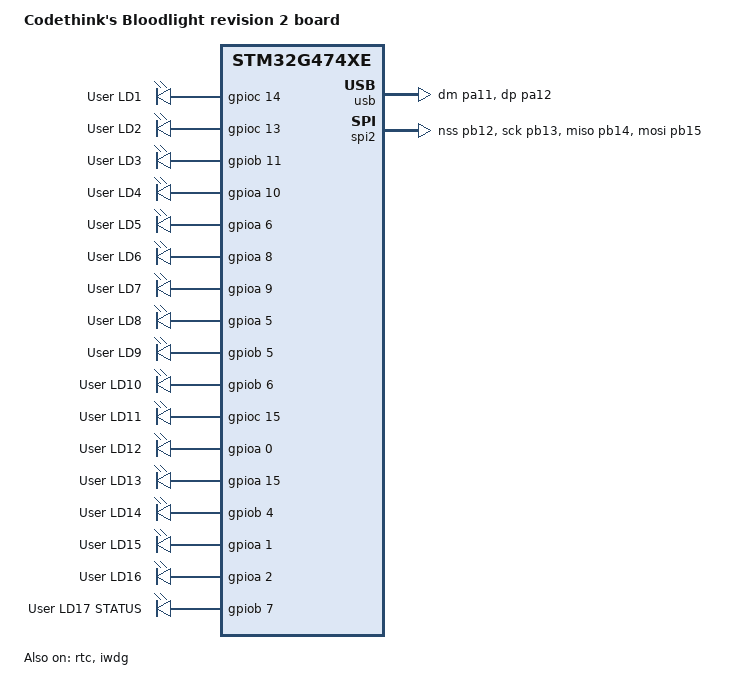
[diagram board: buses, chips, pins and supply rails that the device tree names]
/*
 * Copyright (c) 2019 STMicroelectronics.
 *
 * SPDX-License-Identifier: Apache-2.0
 */

/dts-v1/;
#include <st/g4/stm32g474Xe.dtsi>
#include <st/g4/stm32g474c(b-c-e)tx-pinctrl.dtsi>

/ {
	model = "Codethink's Bloodlight revision 2 board";
	compatible = "st,bloodlight_rev2";

	chosen {
		zephyr,console = &lpuart1;
		zephyr,shell-uart = &lpuart1;
		zephyr,sram = &sram0;
		zephyr,flash = &flash0;
	};

	leds {
		compatible = "gpio-leds";
		infrared_led_1: led_1 {
			gpios = <&gpioc 14 GPIO_ACTIVE_HIGH>;
			label = "User LD1";
		};
		infrared_led_2: led_2 {
			gpios = <&gpioc 13 GPIO_ACTIVE_HIGH>;
			label = "User LD2";
		};
		infrared_led_3: led_3 {
			gpios = <&gpiob 11 GPIO_ACTIVE_HIGH>;
			label = "User LD3";
		};
		infrared_led_4: led_4 {
			gpios = <&gpioa 10 GPIO_ACTIVE_HIGH>;
			label = "User LD4";
		};
		infrared_led_5: led_5 {
			gpios = <&gpioa 6 GPIO_ACTIVE_HIGH>;
			label = "User LD5";
		};
		infrared_led_6: led_6 {
			gpios = <&gpioa 8 GPIO_ACTIVE_HIGH>;
			label = "User LD6";
		};
		infrared_led_7: led_7 {
			gpios = <&gpioa 9 GPIO_ACTIVE_HIGH>;
			label = "User LD7";
		};
		infrared_led_8: led_8 {
			gpios = <&gpioa 5 GPIO_ACTIVE_HIGH>;
			label = "User LD8";
		};
		infrared_led_9: led_9 {
			gpios = <&gpiob 5 GPIO_ACTIVE_HIGH>;
			label = "User LD9";
		};
		red_led_1: led_10 {
			gpios = <&gpiob 6 GPIO_ACTIVE_HIGH>;
			label = "User LD10";
		};
		red_led_2: led_11 {
			gpios = <&gpioc 15 GPIO_ACTIVE_HIGH>;
			label = "User LD11";
		};
		orange_led: led_12 {
			gpios = <&gpioa 0 GPIO_ACTIVE_HIGH>;
			label = "User LD12";
		};
		colorless_led: led_13 {
			gpios = <&gpioa 15 GPIO_ACTIVE_HIGH>;
			label = "User LD13";
		};
		green_led_1: led_14 {
			gpios = <&gpiob 4 GPIO_ACTIVE_HIGH>;
			label = "User LD14";
		};
		green_led_2: led_15 {
			gpios = <&gpioa 1 GPIO_ACTIVE_HIGH>;
			label = "User LD15";
		};
		blue_led: led_16 {
			gpios = <&gpioa 2 GPIO_ACTIVE_HIGH>;
			label = "User LD16";
		};
		status_led: led_17 {
			gpios = <&gpiob 7 GPIO_ACTIVE_HIGH>;
			label = "User LD17 STATUS";
		};
	};

	swd {
		compatible = "bloodlight";
		swlclk: swlclk {
			gpios = <&gpioa 14 GPIO_ACTIVE_HIGH>;
			label = "swlclk";
		};
		swdio: swdio {
			gpios = <&gpioa 13 GPIO_ACTIVE_HIGH>;
			label = "swdio";
		};
		nrst: nrst {
			gpios = <&gpiog 10 GPIO_ACTIVE_HIGH>;
			label = "nrst";
		};
		swo: swo {
			gpios = <&gpiob 3 GPIO_ACTIVE_HIGH>;
			label = "swo";
		};
	};

	aliases {
		led0 = &blue_led;
	};
};

&usb {
	status = "okay";
	pinctrl-0 = <&usb_dm_pa11 &usb_dp_pa12>;
};

//&usart1 {
//	pinctrl-0 = <&usart1_tx_pc4 &usart1_rx_pc5>;
//	current-speed = <115200>;
//	status = "okay";
//};

//&lpuart1 {
//	pinctrl-0 = <&lpuart1_tx_pa2 &lpuart1_rx_pa3>;
//	current-speed = <115200>;
//	status = "okay";
//};

&spi2 {
	pinctrl-0 = <&spi2_nss_pb12 &spi2_sck_pb13
		     &spi2_miso_pb14 &spi2_mosi_pb15>;
	status = "okay";
};


//&timers2 {
//	status = "okay";
//
//	pwm2: pwm {
//		status = "okay";
//		pinctrl-0 = <&tim2_ch1_pa5>;
//	};
//};

&rtc {
	status = "okay";
};

&flash0 {
	/*
	 * For more information, see:
	 * http://docs.zephyrproject.org/latest/guides/dts/index.html#flash-partitions
	 */
	partitions {
		compatible = "fixed-partitions";
		#address-cells = <1>;
		#size-cells = <1>;

		/* Set 2Kb of storage at the end of the 128Kb of flash */
		storage_partition: partition@1f800 {
			label = "storage";
			reg = <0x0001f800 0x00000800>;
		};
	};
};

&iwdg {
	status = "okay";
};

//&adc1 {
//	pinctrl-0 = <&adc1_in1_pa0>;
//	status = "okay";
//};
